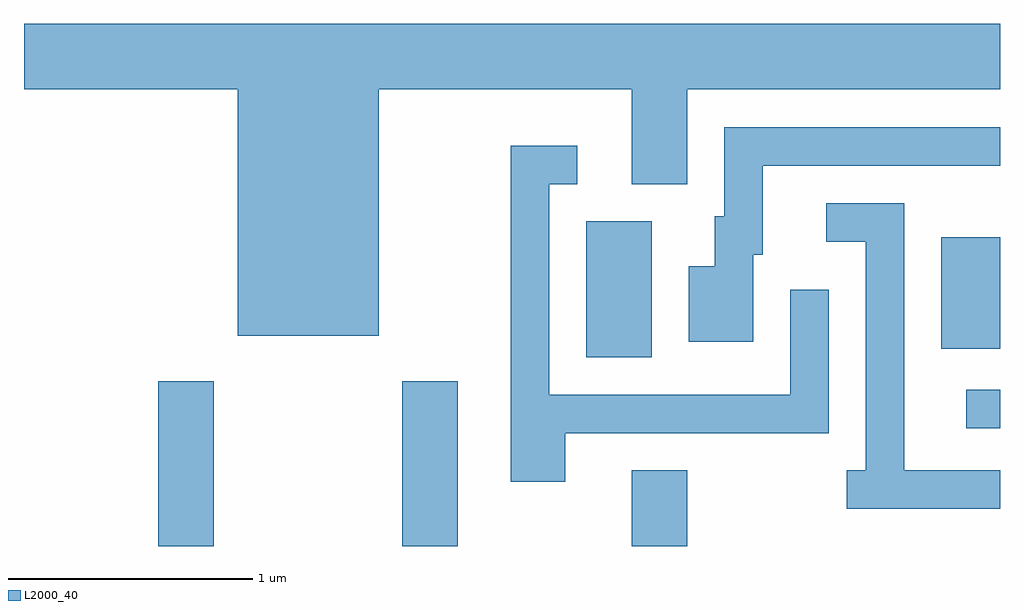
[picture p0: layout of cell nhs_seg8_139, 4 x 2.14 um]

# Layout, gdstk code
import gdstk
lib = gdstk.Library(unit=1e-6, precision=1e-09)
def R(c, l, rs):  # rectangles x0, y0, x1, y1
    for r in rs: c.add(gdstk.rectangle(r[:2], r[2:], *l))
def P(c, l, *ps):  # polygons
    for p in ps: c.add(gdstk.Polygon(p, *l))
L2000_40 = (2000, 40)

nhs_seg8_139 = lib.new_cell('nhs_seg8_139')
R(nhs_seg8_139, L2000_40, [(190.161,1812.342,190.389,1813.019), (191.161,1812.342,191.389,1813.019), (192.101,1812.342,192.329,1812.654), (193.473,1812.826,193.611,1812.984), (191.916,1813.116,192.184,1813.674), (193.371,1813.151,193.611,1813.609)])
P(nhs_seg8_139, L2000_40, [(191.064,1814.216),(192.101,1814.216),(192.101,1813.826),(192.329,1813.826),(192.329,1814.216),(193.611,1814.216),(193.611,1814.484),(189.611,1814.484),(189.611,1814.216),(190.486,1814.216),(190.486,1813.206),(191.064,1813.206)],
  [(192.599,1813.536),(192.639,1813.536),(192.639,1813.901),(193.611,1813.901),(193.611,1814.059),(192.481,1814.059),(192.481,1813.694),(192.441,1813.694),(192.441,1813.489),(192.336,1813.489),(192.336,1813.181),(192.599,1813.181)],
  [(191.829,1812.806),(192.909,1812.806),(192.909,1813.393),(192.751,1813.393),(192.751,1812.964),(191.764,1812.964),(191.764,1813.826),(191.878,1813.826),(191.878,1813.984),(191.606,1813.984),(191.606,1812.606),(191.829,1812.606)],
  [(193.611,1812.654),(193.219,1812.654),(193.219,1813.749),(192.898,1813.749),(192.898,1813.591),(193.061,1813.591),(193.061,1812.654),(192.983,1812.654),(192.983,1812.496),(193.611,1812.496)])

lib.write_gds('nhs_seg8_139.gds')
